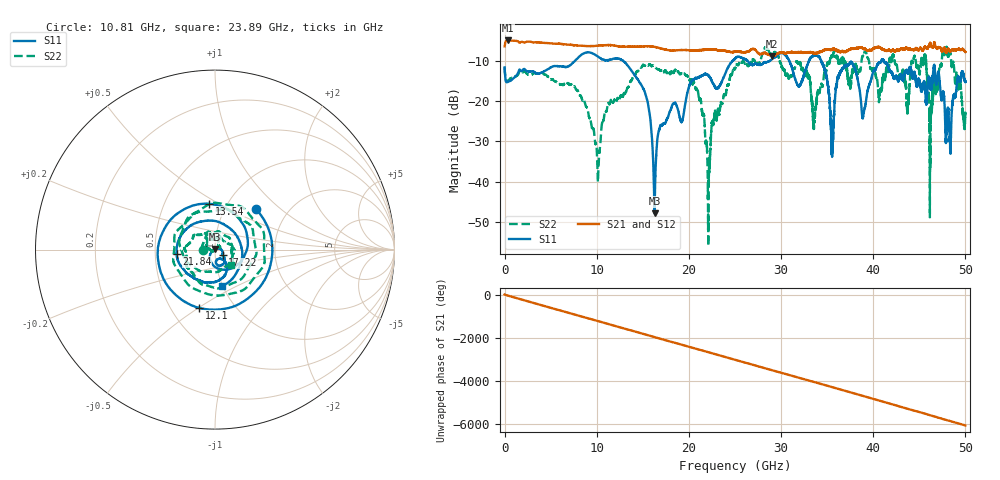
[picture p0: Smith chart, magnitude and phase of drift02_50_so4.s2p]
!Created with skrf (http://scikit-rf.org).
# Hz S RI R 50.0
!freq ReS11 ImS11 ReS21 ImS21 ReS12 ImS12 ReS22 ImS22
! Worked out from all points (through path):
!   10001 points, 300 kHz to 50 GHz, reference 50 ohm
!   highest |S21| = -5.04 dB at 325.3 MHz (marker M1); lowest = -8.9 dB at 28.98 GHz (marker M2)
!   group delay of S21, straight-line fit = 336 ps
!   lowest |S11| = -47.8 dB at 16.27 GHz (marker M3), VSWR 1.01, Z = 49.9 + j0.391 ohm
!   |S11| at or under -10 dB: start of sweep to 7.666 GHz; 12.81 GHz to 24.78 GHz (11.96 GHz wide, 63.6 % of centre); 41.13 GHz to end of sweep (the widest 3 of 13)
!   |S22| runs from -55.9 to -6.6 dB; largest |S21 - S12| = 0.032
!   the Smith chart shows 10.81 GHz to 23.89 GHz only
!   S11 on the Smith chart (normalised r, x): 10.81 GHz: 1.38, +0.70; 12.1 GHz: 0.69, -0.50; 13.54 GHz: 0.82, +0.45; 17.22 GHz: 1.09, -0.07; 21.84 GHz: 0.65, -0.03; 23.89 GHz: 0.99, -0.42
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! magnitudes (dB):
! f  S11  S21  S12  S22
! 300 kHz  -11.7  -6.5  -6.5  -11.7
! 325.3 MHz  -15.3  -5.0  -5.0  -15.1
! 8.335 GHz  -8.6  -6.4  -6.4  -19.1
! 10.11 GHz  -9.0  -6.3  -6.3  -38.6
! 10.81 GHz  -9.9  -6.2  -6.2  -23.7
! 12.1 GHz  -9.5  -6.4  -6.4  -20.3
! 13.54 GHz  -11.8  -6.6  -6.6  -15.9
! 16.27 GHz  -47.8  -6.6  -6.6  -11.7
! 16.67 GHz  -27.8  -6.8  -6.8  -12.1
! 17.22 GHz  -25.6  -7.2  -7.1  -12.8
! 21.84 GHz  -13.4  -7.3  -7.3  -30.3
! 23.89 GHz  -13.6  -7.6  -7.6  -18.4
! 25 GHz  -9.5  -7.8  -7.8  -12.0
! 28.98 GHz  -9.7  -8.9  -8.8  -8.0
! 33.34 GHz  -9.1  -8.0  -8.0  -20.1
! 35.54 GHz  -33.8  -7.3  -7.3  -9.2
! 36.78 GHz  -11.9  -7.8  -7.9  -9.8
! 41.67 GHz  -11.9  -7.4  -7.5  -12.2
! 45.49 GHz  -15.4  -7.1  -7.1  -9.7
! 46.26 GHz  -16.8  -6.2  -6.2  -22.2
! 48.12 GHz  -22.0  -7.1  -7.1  -8.9
! 50 GHz  -15.2  -7.9  -7.9  -23.4
